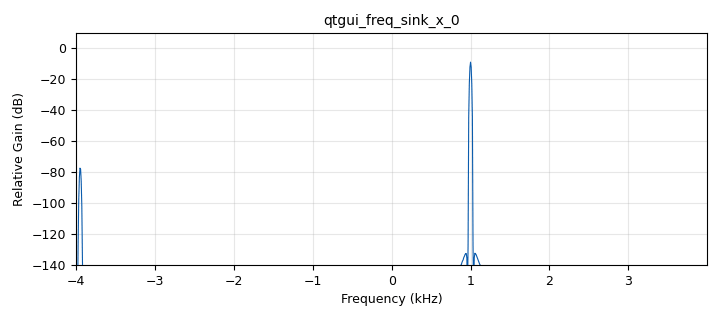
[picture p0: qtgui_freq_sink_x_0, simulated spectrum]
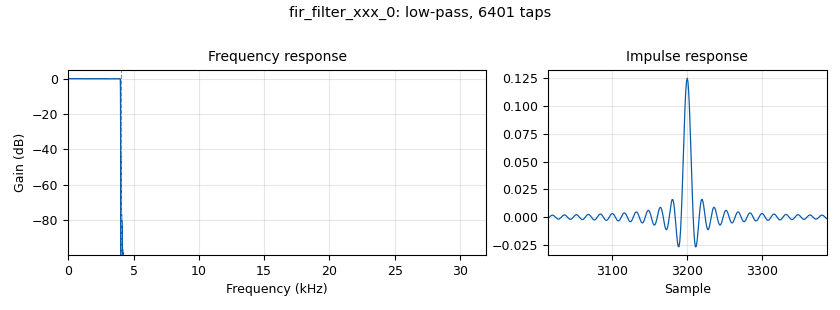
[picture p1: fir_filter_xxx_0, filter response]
<?xml version='1.0' encoding='utf-8'?>
<?grc format='1' created='3.7.12'?>
<flow_graph>
<block>
<key>options</key>
<param><key>id</key><value>top_block</value></param>
<param><key>generate_options</key><value>qt_gui</value></param>
</block>
<block>
<key>variable</key>
<param><key>id</key><value>samp_rate</value></param>
<param><key>value</key><value>64000</value></param>
</block>
<block>
<key>variable_low_pass_filter_taps</key>
<param><key>id</key><value>taps</value></param>
<param><key>cutoff_freq</key><value>4000</value></param>
<param><key>gain</key><value>1</value></param>
<param><key>samp_rate</key><value>samp_rate</value></param>
<param><key>width</key><value>20</value></param>
<param><key>win</key><value>firdes.WIN_HANN</value></param>
</block>
<block>
<key>variable_low_pass_filter_taps</key>
<param><key>id</key><value>taps_0</value></param>
<param><key>cutoff_freq</key><value>32000</value></param>
<param><key>_enabled</key><value>0</value></param>
<param><key>gain</key><value>1</value></param>
<param><key>samp_rate</key><value>samp_rate</value></param>
<param><key>width</key><value>200</value></param>
<param><key>win</key><value>firdes.WIN_HANN</value></param>
</block>
<block>
<key>analog_sig_source_x</key>
<param><key>id</key><value>analog_sig_source_x_0</value></param>
<param><key>amp</key><value>1</value></param>
<param><key>freq</key><value>1000</value></param>
<param><key>offset</key><value>0</value></param>
<param><key>type</key><value>complex</value></param>
<param><key>samp_rate</key><value>samp_rate</value></param>
<param><key>waveform</key><value>analog.GR_COS_WAVE</value></param>
</block>
<block>
<key>analog_sig_source_x</key>
<param><key>id</key><value>analog_sig_source_x_0_0</value></param>
<param><key>amp</key><value>1</value></param>
<param><key>freq</key><value>10000</value></param>
<param><key>offset</key><value>0</value></param>
<param><key>type</key><value>complex</value></param>
<param><key>samp_rate</key><value>samp_rate</value></param>
<param><key>waveform</key><value>analog.GR_COS_WAVE</value></param>
</block>
<block>
<key>analog_sig_source_x</key>
<param><key>id</key><value>analog_sig_source_x_0_0_0</value></param>
<param><key>amp</key><value>1</value></param>
<param><key>freq</key><value>11000</value></param>
<param><key>offset</key><value>0</value></param>
<param><key>type</key><value>complex</value></param>
<param><key>samp_rate</key><value>samp_rate</value></param>
<param><key>waveform</key><value>analog.GR_COS_WAVE</value></param>
</block>
<block>
<key>analog_sig_source_x</key>
<param><key>id</key><value>analog_sig_source_x_0_0_1</value></param>
<param><key>amp</key><value>1</value></param>
<param><key>freq</key><value>4050</value></param>
<param><key>offset</key><value>0</value></param>
<param><key>type</key><value>complex</value></param>
<param><key>samp_rate</key><value>samp_rate</value></param>
<param><key>waveform</key><value>analog.GR_COS_WAVE</value></param>
</block>
<block>
<key>blocks_add_xx</key>
<param><key>id</key><value>blocks_add_xx_0</value></param>
<param><key>type</key><value>complex</value></param>
<param><key>num_inputs</key><value>4</value></param>
</block>
<block>
<key>blocks_throttle</key>
<param><key>id</key><value>blocks_throttle_0</value></param>
<param><key>samples_per_second</key><value>samp_rate</value></param>
<param><key>type</key><value>complex</value></param>
</block>
<block>
<key>fir_filter_xxx</key>
<param><key>id</key><value>fir_filter_xxx_0</value></param>
<param><key>decim</key><value>8</value></param>
<param><key>taps</key><value>taps</value></param>
<param><key>type</key><value>ccc</value></param>
</block>
<block>
<key>qtgui_freq_sink_x</key>
<param><key>id</key><value>qtgui_freq_sink_x_0</value></param>
<param><key>bw</key><value>samp_rate/8</value></param>
<param><key>fc</key><value>0</value></param>
<param><key>ctrlpanel</key><value>True</value></param>
<param><key>fftsize</key><value>1024</value></param>
<param><key>showports</key><value>True</value></param>
<param><key>type</key><value>complex</value></param>
<param><key>wintype</key><value>firdes.WIN_BLACKMAN_hARRIS</value></param>
</block>
<connection><source_block_id>analog_sig_source_x_0</source_block_id><sink_block_id>blocks_add_xx_0</sink_block_id><source_key>0</source_key><sink_key>0</sink_key></connection>
<connection><source_block_id>analog_sig_source_x_0_0</source_block_id><sink_block_id>blocks_add_xx_0</sink_block_id><source_key>0</source_key><sink_key>1</sink_key></connection>
<connection><source_block_id>analog_sig_source_x_0_0_0</source_block_id><sink_block_id>blocks_add_xx_0</sink_block_id><source_key>0</source_key><sink_key>2</sink_key></connection>
<connection><source_block_id>analog_sig_source_x_0_0_1</source_block_id><sink_block_id>blocks_add_xx_0</sink_block_id><source_key>0</source_key><sink_key>3</sink_key></connection>
<connection><source_block_id>blocks_add_xx_0</source_block_id><sink_block_id>fir_filter_xxx_0</sink_block_id><source_key>0</source_key><sink_key>0</sink_key></connection>
<connection><source_block_id>blocks_throttle_0</source_block_id><sink_block_id>qtgui_freq_sink_x_0</sink_block_id><source_key>0</source_key><sink_key>0</sink_key></connection>
<connection><source_block_id>fir_filter_xxx_0</source_block_id><sink_block_id>blocks_throttle_0</sink_block_id><source_key>0</source_key><sink_key>0</sink_key></connection>
</flow_graph>
